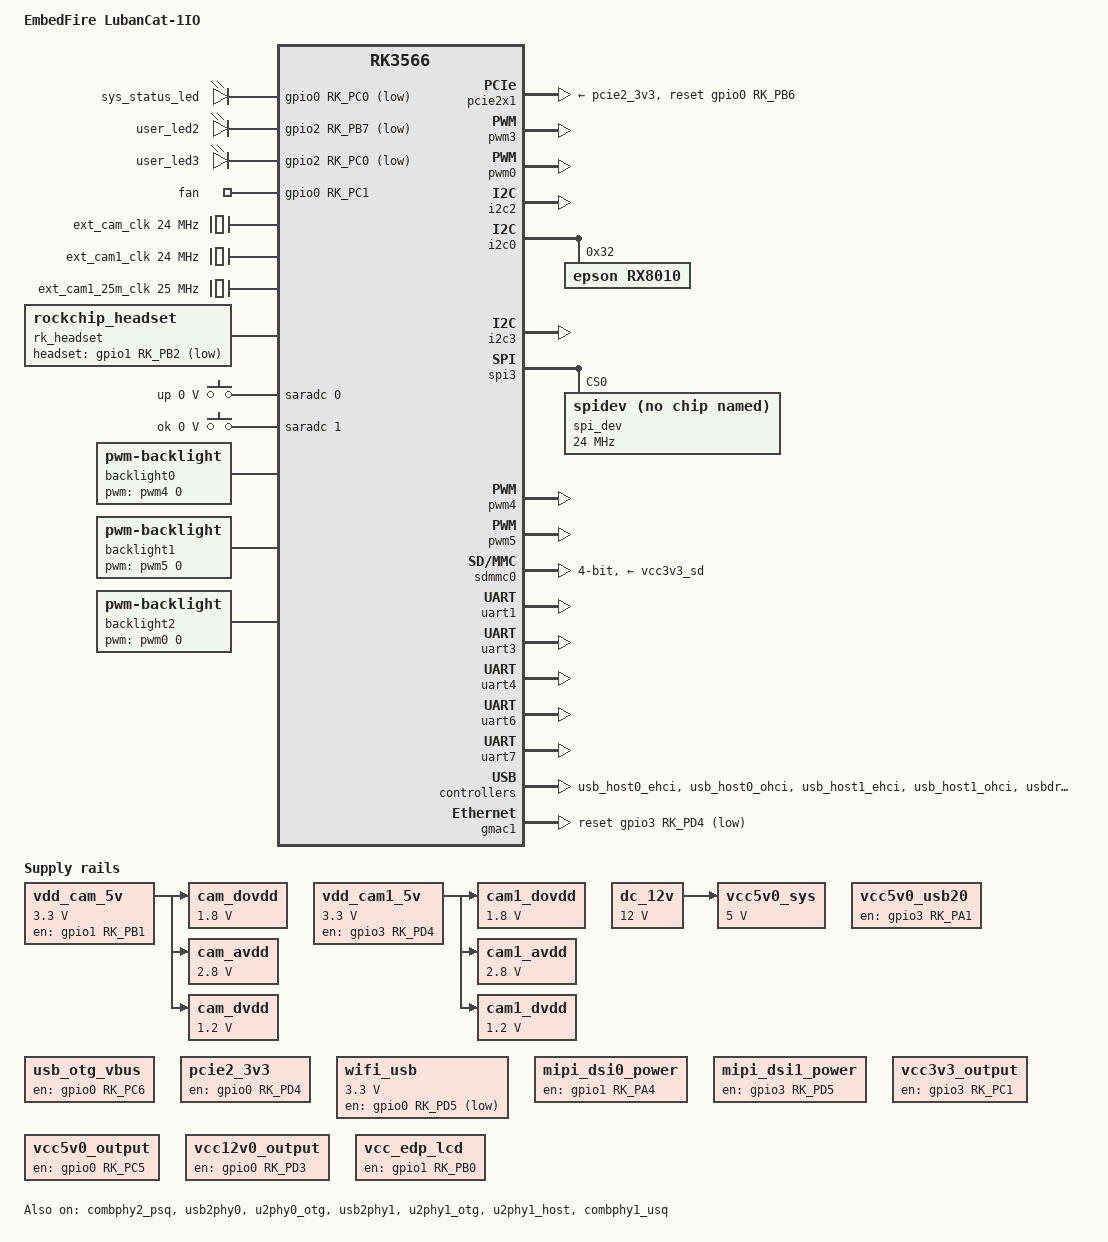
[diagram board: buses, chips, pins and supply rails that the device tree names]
// SPDX-License-Identifier: (GPL-2.0+ OR MIT)
 /dts-v1/;
//核心板配置
#include "rk3566-lubancat-1core-port.dtsi"

// MIPI-DSI1屏幕
#include "rk3566-lubancat-1io-dsi1.dtsi"
//HDMI输出（与lvds二选一）
#include "rk3566-lubancat-hdmi.dtsi"
// lvds屏幕（与HDMI二选一）
// #include "rk3566-lubancat-1io-lvds.dtsi"

//MIPI摄像头配置
#include "rk3568-lubancat-csi2-double.dtsi"

/ {
	model = "EmbedFire LubanCat-1IO";
	compatible = "embedfire,lubancat-1io", "rockchip,rk3566";

	leds: leds {
		status = "okay";
		compatible = "gpio-leds";

		sys_status_led: sys_status_led {
			label = "sys_status_led";
			status = "okay";
			linux,default-trigger = "heartbeat";
			default-state = "on";
			gpios = <&gpio0 RK_PC0 GPIO_ACTIVE_LOW>;
			pinctrl-names = "default";
			pinctrl-0 = <&sys_status_led_pin>;
		};

		user_led2: user_led2 {
			label = "user_led2";
			status = "okay";
			linux,default-trigger = "heartbeat";
			default-state = "on";
			gpios = <&gpio2 RK_PB7 GPIO_ACTIVE_LOW>;
			pinctrl-names = "default";
			pinctrl-0 = <&user_led2_pin>;
		};

		user_led3: user_led3 {
			label = "user_led3";
			status = "okay";
			linux,default-trigger = "heartbeat";
			default-state = "on";
			gpios = <&gpio2 RK_PC0 GPIO_ACTIVE_LOW>;
			pinctrl-names = "default";
			pinctrl-0 = <&user_led3_pin>;
		};

		fan: fan {
			label = "fan";
			default-state = "on";
			linux,default-trigger = "none";
			gpios = <&gpio0 RK_PC1 GPIO_ACTIVE_HIGH>;
			pinctrl-names = "default";
			pinctrl-0 = <&fan_pin>;
		};
	};

	ext_cam_clk: external-camera0-clock {
		compatible = "fixed-clock";
		#clock-cells = <0>;
		clock-frequency = <24000000>;
		clock-output-names = "CLK_CAMERA0_24MHZ";
	};

	vdd_cam_5v: vdd-cam0-5v-regulator {
		compatible = "regulator-fixed";
		regulator-name = "vdd_cam_5v";
		regulator-min-microvolt = <3300000>;
		regulator-max-microvolt = <3300000>;
		gpio = <&gpio1 RK_PB1 GPIO_ACTIVE_HIGH>;
		pinctrl-names = "default";
		pinctrl-0 = <&cam_pwr_en>;
		enable-active-high;
		regulator-always-on;
	};

	cam_dovdd: cam_dovdd {
		compatible = "regulator-fixed";
		regulator-name = "cam_dovdd";
		regulator-always-on;
		regulator-boot-on;
		regulator-min-microvolt = <1800000>;
		regulator-max-microvolt = <1800000>;
		vin-supply = <&vdd_cam_5v>;
	};

	cam_avdd: cam_avdd {
		compatible = "regulator-fixed";
		regulator-name = "cam_avdd";
		regulator-always-on;
		regulator-boot-on;
		regulator-min-microvolt = <2800000>;
		regulator-max-microvolt = <2800000>;
		vin-supply = <&vdd_cam_5v>;
	};

	cam_dvdd: cam_dvdd {
		compatible = "regulator-fixed";
		regulator-name = "cam_dvdd";
		regulator-always-on;
		regulator-boot-on;
		regulator-min-microvolt = <1200000>;
		regulator-max-microvolt = <1200000>;
		vin-supply = <&vdd_cam_5v>;
	};

	ext_cam1_clk: external-camera1-clock {
		compatible = "fixed-clock";
		#clock-cells = <0>;
		clock-frequency = <24000000>;
		clock-output-names = "CLK_CAMERA1_24MHZ";
	};

	ext_cam1_25m_clk: external-camera1-25m-clock {
		compatible = "fixed-clock";
		clock-frequency = <25000000>;
		clock-output-names = "ext_cam1_25m_clk";
		#clock-cells = <0>;
	};

	vdd_cam1_5v: vdd-cam1-5v-regulator {
		compatible = "regulator-fixed";
		regulator-name = "vdd_cam1_5v";
		regulator-min-microvolt = <3300000>;
		regulator-max-microvolt = <3300000>;
		gpio = <&gpio3 RK_PD4 GPIO_ACTIVE_HIGH>;
		pinctrl-names = "default";
		pinctrl-0 = <&cam1_pwr_en>;
		enable-active-high;
		regulator-always-on;
	};

	cam1_dovdd: cam1-dovdd {
		compatible = "regulator-fixed";
		regulator-name = "cam1_dovdd";
		regulator-always-on;
		regulator-boot-on;
		regulator-min-microvolt = <1800000>;
		regulator-max-microvolt = <1800000>;
		vin-supply = <&vdd_cam1_5v>;
	};

	cam1_avdd: cam1-avdd {
		compatible = "regulator-fixed";
		regulator-name = "cam1_avdd";
		regulator-always-on;
		regulator-boot-on;
		regulator-min-microvolt = <2800000>;
		regulator-max-microvolt = <2800000>;
		vin-supply = <&vdd_cam1_5v>;
	};

	cam1_dvdd: cam1-dvdd {
		compatible = "regulator-fixed";
		regulator-name = "cam1_dvdd";
		regulator-always-on;
		regulator-boot-on;
		regulator-min-microvolt = <1200000>;
		regulator-max-microvolt = <1200000>;
		vin-supply = <&vdd_cam1_5v>;
	};

	dc_12v: dc-12v {
		compatible = "regulator-fixed";
		regulator-name = "dc_12v";
		regulator-always-on;
		regulator-boot-on;
		regulator-min-microvolt = <12000000>;
		regulator-max-microvolt = <12000000>;
	};

	vcc5v0_sys: vcc5v0-sys {
		compatible = "regulator-fixed";
		regulator-name = "vcc5v0_sys";
		regulator-always-on;
		regulator-boot-on;
		regulator-min-microvolt = <5000000>;
		regulator-max-microvolt = <5000000>;
		vin-supply = <&dc_12v>;
	};

	// LubanCat1io
	vcc5v0_usb20: vcc5v0-usb20-regulator {
		compatible = "regulator-fixed";
		enable-active-high;
		gpio = <&gpio3 RK_PA1 GPIO_ACTIVE_HIGH>;
		pinctrl-names = "default";
		pinctrl-0 = <&vcc5v0_usb20_en>;
		regulator-name = "vcc5v0_usb20_host";
		regulator-always-on;
	};

	usb_otg_vbus: usb-otg-vbus-regulator {
		compatible = "regulator-fixed";
		enable-active-high;
		gpio = <&gpio0 RK_PC6 GPIO_ACTIVE_HIGH>;
		pinctrl-names = "default";
		pinctrl-0 = <&usb_otg_vbus_en>;
		regulator-name = "vcc5v0_otg";
	};

	pcie2_3v3: pcie2-3v3-regulator {
		compatible = "regulator-fixed";
		enable-active-high;
		gpio = <&gpio0 RK_PD4 GPIO_ACTIVE_HIGH>;
		pinctrl-names = "default";
		pinctrl-0 = <&pcie2_3v3_en>;
		regulator-name = "pcie2_3v3";
		regulator-always-on;
	};

	wifi_usb: wifi-usb {
		compatible = "regulator-fixed";
		regulator-name = "wifi_usb";
		regulator-min-microvolt = <3300000>;
		regulator-max-microvolt = <3300000>;
		pinctrl-names = "default";
		pinctrl-0 = <&wifi_poweren_gpio>;
		regulator-always-on;
		enable-active-low;
		gpio = <&gpio0 RK_PD5 GPIO_ACTIVE_LOW>;
	};

	mipi_dsi0_power: mipi-dsi0-power-regulator {
		compatible = "regulator-fixed";
		enable-active-high;
		gpio = <&gpio1 RK_PA4 GPIO_ACTIVE_HIGH>;
		pinctrl-names = "default";
		pinctrl-0 = <&mipi_dsi0_pwr_en>;
		regulator-name = "mipi_dsi0_power";
		regulator-always-on;
	};

	mipi_dsi1_power: mipi-dsi1-power-regulator {
		compatible = "regulator-fixed";
		enable-active-high;
		gpio = <&gpio3 RK_PD5 GPIO_ACTIVE_HIGH>;
		pinctrl-names = "default";
		pinctrl-0 = <&mipi_dsi1_pwr_en>;
		regulator-name = "mipi_dsi1_power";
		regulator-always-on;
	};

	vcc3v3_output: vcc3v3-output-regulator {
		compatible = "regulator-fixed";
		enable-active-high;
		gpio = <&gpio3 RK_PC1 GPIO_ACTIVE_HIGH>;
		pinctrl-names = "default";
		pinctrl-0 = <&vcc3v3_output_en>;
		regulator-name = "vcc3v3_output";
		regulator-always-on;
	};

	vcc5v0_output: vcc5v0-output-regulator {
		compatible = "regulator-fixed";
		enable-active-high;
		gpio = <&gpio0 RK_PC5 GPIO_ACTIVE_HIGH>;
		pinctrl-names = "default";
		pinctrl-0 = <&vcc5v0_output_en>;
		regulator-name = "vcc5v0_output";
		regulator-always-on;
	};

	vcc12v0_output: vcc12v0-output-regulator {
		compatible = "regulator-fixed";
		enable-active-high;
		gpio = <&gpio0 RK_PD3 GPIO_ACTIVE_HIGH>;
		pinctrl-names = "default";
		pinctrl-0 = <&vcc12v0_output_en>;
		regulator-name = "vcc12v0_output";
		regulator-always-on;
	};

	vcc_edp_lcd: vcc-edp-lcd-regulator {
		compatible = "regulator-fixed";
		enable-active-high;
		gpio = <&gpio1 RK_PB0 GPIO_ACTIVE_HIGH>;
		pinctrl-names = "default";
		pinctrl-0 = <&edp_pwr_en>;
		regulator-name = "vdd_edp_lcd";
		regulator-always-on;
	};

	rk_headset: rk-headset {
		status = "okay";
		compatible = "rockchip_headset";
		headset_gpio = <&gpio1 RK_PB2 GPIO_ACTIVE_LOW>;
		pinctrl-names = "default";
		pinctrl-0 = <&hp_det>;
	};

	adc_key_1: adc-key-1 {
		compatible = "adc-keys";
		io-channels = <&saradc 0>;
		io-channel-names = "buttons";
		keyup-threshold-microvolt = <1800000>;
		poll-interval = <100>;

		up-key {
			label = "up";
			linux,code = <KEY_UP>;
			press-threshold-microvolt = <9>;
		};
	};

	adc_key_2: adc-key-2 {
		status = "okay";
		compatible = "adc-keys";
		io-channels = <&saradc 1>;
		io-channel-names = "buttons";
		keyup-threshold-microvolt = <1800000>;
		poll-interval = <100>;

		ok-key {
			label = "ok";
			linux,code = <KEY_OK>;
			press-threshold-microvolt = <9>;
		};
	};

	backlight0: backlight0 {
		status = "okay";
		compatible = "pwm-backlight";
		pwms = <&pwm4 0 50000 0>;
		brightness-levels = <
			 95  95  95  95  95  95  95  95
			 95  95  95  95  95  95  95  95
			 95  95  95  95  95  95  95  95
			 95  95  95  95  95  95  95  95
			 95  95  95  95  95  95  95  95
			 95  95  95  95  95  95  95  95
			 95  95  95  95  95  95  95  95
			 95  95  95  95  95  95  95  95
			 95  95  95  95  95  95  95  95
			 95  95  95  95  95  95  95  95
			 95  95  95  95  95  95  95  95
			 88  89  90  91  92  93  94  95
			 96  97  98  99 100 101 102 103
			104 105 106 107 108 109 110 111
			112 113 114 115 116 117 118 119
			120 121 122 123 124 125 126 127
			128 129 130 131 132 133 134 135
			136 137 138 139 140 141 142 143
			144 145 146 147 148 149 150 151
			152 153 154 155 156 157 158 159
			160 161 162 163 164 165 166 167
			168 169 170 171 172 173 174 175
			176 177 178 179 180 181 182 183
			184 185 186 187 188 189 190 191
			192 193 194 195 196 197 198 199
			200 201 202 203 204 205 206 207
			208 209 210 211 212 213 214 215
			216 217 218 219 220 221 222 223
			224 225 226 227 228 229 230 231
			232 233 234 235 236 237 238 239
			240 241 242 243 244 245 246 247
			248 249 250 251 252 253 254 255
		>;
		default-brightness-level = <200>;
	};

	backlight1: backlight1 {
		status = "okay";
		compatible = "pwm-backlight";
		pwms = <&pwm5 0 50000 0>;
		brightness-levels = <
			95  95  95  95  95  95  95  95
			95  95  95  95  95  95  95  95
			95  95  95  95  95  95  95  95
			95  95  95  95  95  95  95  95
			95  95  95  95  95  95  95  95
			95  95  95  95  95  95  95  95
			95  95  95  95  95  95  95  95
			95  95  95  95  95  95  95  95
			95  95  95  95  95  95  95  95
			95  95  95  95  95  95  95  95
			95  95  95  95  95  95  95  95
			88  89  90  91  92  93  94  95
			96  97  98  99  100 101 102 103
			104 105 106 107 108 109 110 111
			112 113 114 115 116 117 118 119
			120 121 122 123 124 125 126 127
			128 129 130 131 132 133 134 135
			136 137 138 139 140 141 142 143
			144 145 146 147 148 149 150 151
			152 153 154 155 156 157 158 159
			160 161 162 163 164 165 166 167
			168 169 170 171 172 173 174 175
			176 177 178 179 180 181 182 183
			184 185 186 187 188 189 190 191
			192 193 194 195 196 197 198 199
			200 201 202 203 204 205 206 207
			208 209 210 211 212 213 214 215
			216 217 218 219 220 221 222 223
			224 225 226 227 228 229 230 231
			232 233 234 235 236 237 238 239
			240 241 242 243 244 245 246 247
			248 249 250 251 252 253 254 255
		>;
		default-brightness-level = <200>;
	};

	backlight2: backlight2 {
		status = "okay";
		compatible = "pwm-backlight";
		pwms = <&pwm0 0 500000 0>; //2khz
		brightness-levels = <
			0   1   2   3   4   5   6   7
			8   9   10  11  12  13  14  15
			16  17  18  19  20  21  22  23
			24  25  26  27  28  29  30  31
			32  33  34  35  36  37  38  39
			40  41  42  43  44  45  46  47
			48  49  50  51  52  53  54  55
			56  57  58  59  60  61  62  63
			64  65  66  67  68  69  70  71
			72  73  74  75  76  77  78  79
			80  81  82  83  84  85  86  87
			88  89  90  91  92  93  94  95
			96  97  98  99  100 101 102 103
			104 105 106 107 108 109 110 111
			112 113 114 115 116 117 118 119
			120 121 122 123 124 125 126 127
			128 129 130 131 132 133 134 135
			136 137 138 139 140 141 142 143
			144 145 146 147 148 149 150 151
			152 153 154 155 156 157 158 159
			160 161 162 163 164 165 166 167
			168 169 170 171 172 173 174 175
			176 177 178 179 180 181 182 183
			184 185 186 187 188 189 190 191
			192 193 194 195 196 197 198 199
			200 201 202 203 204 205 206 207
			208 209 210 211 212 213 214 215
			216 217 218 219 220 221 222 223
			224 225 226 227 228 229 230 231
			232 233 234 235 236 237 238 239
			240 241 242 243 244 245 246 247
			248 249 250 251 252 253 254 255>;
		default-brightness-level = <200>;
	};
};

//cam0-gpio-setting
&ov5647 {
	pwdn-gpios = <&gpio3 RK_PA2 GPIO_ACTIVE_LOW>;
};

&ov5648 {
	pwdn-gpios = <&gpio3 RK_PA2 GPIO_ACTIVE_HIGH>;
	reset-gpios = <&gpio2 RK_PA7 GPIO_ACTIVE_LOW>;
};

&ov8858 {
	pwdn-gpios = <&gpio3 RK_PA2 GPIO_ACTIVE_HIGH>;
	reset-gpios = <&gpio2 RK_PA7 GPIO_ACTIVE_HIGH>;
};

&sc132gs {
	pwdn-gpios = <&gpio3 RK_PA2 GPIO_ACTIVE_HIGH>;
	reset-gpios = <&gpio2 RK_PA7 GPIO_ACTIVE_HIGH>;
};

//cam1-gpio-setting
&cam1_ov5647 {
	pwdn-gpios = <&gpio3 RK_PA7 GPIO_ACTIVE_LOW>;
};

&cam1_ov5648 {
	pwdn-gpios = <&gpio3 RK_PA7 GPIO_ACTIVE_HIGH>;
	reset-gpios = <&gpio2 RK_PB0 GPIO_ACTIVE_LOW>;
};

&cam1_ov8858 {
	pwdn-gpios = <&gpio3 RK_PA7 GPIO_ACTIVE_HIGH>;
	reset-gpios = <&gpio2 RK_PB0 GPIO_ACTIVE_HIGH>;
};

&cam1_sc132gs {
	pwdn-gpios = <&gpio3 RK_PA7 GPIO_ACTIVE_HIGH>;
	reset-gpios = <&gpio2 RK_PB0 GPIO_ACTIVE_HIGH>;
};

// pcie
&pcie2x1 {
	reset-gpios = <&gpio0 RK_PB6 GPIO_ACTIVE_HIGH>;
	disable-gpios = <&gpio3 RK_PB5 GPIO_ACTIVE_HIGH>;
	vpcie3v3-supply = <&pcie2_3v3>;
	status = "okay";
};

&combphy2_psq {
	status = "okay";
};

// 红外
&pwm3 {
	status = "okay";

	compatible = "rockchip,remotectl-pwm";
	remote_pwm_id = <3>;
	handle_cpu_id = <1>;
	remote_support_psci = <0>;
	pinctrl-names = "default";
	pinctrl-0 = <&pwm3_pins>;

	ir_key_lubancat{
		rockchip,usercode = <0xff00>;
		rockchip,key_table =
			<0xeb   KEY_POWER>,
			<0xec   KEY_MENU>,
			<0xfe   KEY_BACK>,
			<0xb7   KEY_HOME>,
			<0xa3   KEY_WWW>,
			<0xf4   KEY_VOLUMEUP>,
			<0xa7   KEY_VOLUMEDOWN>,
			<0xf8   KEY_REPLY>,
			<0xfc   KEY_UP>,
			<0xfd   KEY_DOWN>,
			<0xf1   KEY_LEFT>,
			<0xe5   KEY_RIGHT>;
	};
};

&pwm0 {
	status = "okay";
};

&i2c2 {
	status = "okay";
	pinctrl-names = "default";
	pinctrl-0 = <&i2c2m1_xfer>;
};


&i2c0 {
	rx8010: rx8010@32 {
		compatible = "epson,rx8010";
		reg = <0x32>;
		status = "okay";
	};
};

&rk809 {
	rtc {
		status = "disabled"; //use rx8010
	};
};

&xin32k {
	status = "disabled"; //use for RX8010_nIRQ1
};

&i2c3 {
	status = "okay";
};

&spi3 {
	status = "okay";
	#address-cells = <1>;
	#size-cells = <0>;

	// 40PIN引脚只预留SPI3 CS0引脚，如果有多个CS信号，可以使用gpio模拟cs
	pinctrl-names = "default", "high_speed";
	pinctrl-0 = <&spi3m1_cs0 &spi3m1_pins>;
	pinctrl-1 = <&spi3m1_cs0 &spi3m1_pins_hs>;

	spi_dev@0 {
		compatible = "rockchip,spidev";
		reg = <0>; //chip select 0:cs0  1:cs1
		spi-max-frequency = <24000000>; //spi output clock
	};
};

&pwm4 {
	status = "okay";
};

&pwm5 {
	status = "okay";
};

&sdmmc0 {
	max-frequency = <150000000>;
	supports-sd;
	bus-width = <4>;
	cap-mmc-highspeed;
	cap-sd-highspeed;
	disable-wp;
	sd-uhs-sdr104;
	vmmc-supply = <&vcc3v3_sd>;
	status = "okay";
};

&uart1 {
	status = "okay";
};

&uart3 {
	status = "okay";
	pinctrl-names = "default";
	pinctrl-0 = <&uart3m1_xfer>;
};

&uart4 {
	status = "okay";
	pinctrl-names = "default";
	pinctrl-0 = <&uart4m1_xfer>;
};

&uart6 {
	status = "okay";
};

&uart7 {
	status = "okay";
};

&uart9 {
	status = "disabled";
	pinctrl-names = "default";
	pinctrl-0 = <&uart9m1_xfer>;
};

/* USB OTG/USB Host_1 USB 2.0 Comb */
&usb2phy0 {
	status = "okay";
};

// &u2phy0_host {
//     phy-supply = <&vcc5v0_usb30>;
//     status = "okay";
// };

&u2phy0_otg {
	status = "okay";
	vbus-supply = <&usb_otg_vbus>;
};

&usb_host0_ehci {
	status = "okay";
};

&usb_host0_ohci {
	status = "okay";
};

/* USB Host_2/USB Host_3 USB 2.0 Comb */
&usb2phy1 {
	status = "okay";
};

&u2phy1_otg {
	phy-supply = <&vcc5v0_usb20>;
	status = "okay";
};

&u2phy1_host {
	status = "okay";
};

&usb_host1_ehci {
	status = "okay";
};

&usb_host1_ohci {
	status = "okay";
};

/* USB3.0 OTG Only USB2.0 */
&usbdrd30 {
	status = "okay";
};

&usbdrd_dwc3 {
	status = "okay";
};

/* USB3.0 Host  */
&combphy1_usq {
	status = "okay";
};

&usbhost30 {
	status = "okay";
};

&usbhost_dwc3 {
	status = "okay";
};

&gmac1 {
	snps,reset-gpio = <&gpio3 RK_PD4 GPIO_ACTIVE_LOW>;
	tx_delay = <0x16>;
	rx_delay = <0x06>;
	status = "okay";
};

&pinctrl {
	cam {
		cam_pwr_en: cam_pwr_en {
			rockchip,pins = <1 RK_PB1 RK_FUNC_GPIO &pcfg_pull_none>;
		};

		cam1_pwr_en: cam1_pwr_en {
			rockchip,pins = <3 RK_PD4 RK_FUNC_GPIO &pcfg_pull_none>;
		};
	};

	lcd {
		edp_pwr_en: edp-pwr-en {
			rockchip,pins = <1 RK_PB0 RK_FUNC_GPIO &pcfg_pull_none>;
		};

		mipi_dsi0_pwr_en: mipi-dsi0-pwr-en {
			rockchip,pins = <1 RK_PA4 RK_FUNC_GPIO &pcfg_pull_none>;
		};

		mipi_dsi1_pwr_en: mipi-dsi1-pwr-en {
			rockchip,pins = <3 RK_PD5 RK_FUNC_GPIO &pcfg_pull_none>;
		};
	};

	leds {
		sys_status_led_pin: sys-status-led-pin {
			rockchip,pins = <0 RK_PC0 RK_FUNC_GPIO &pcfg_pull_none>;
		};

		user_led2_pin:user_led2_pin{
			rockchip,pins = <2 RK_PB7 RK_FUNC_GPIO &pcfg_pull_none>;
		};

		user_led3_pin:user_led3_pin{
			rockchip,pins = <2 RK_PC0 RK_FUNC_GPIO &pcfg_pull_none>;
		};

		fan_pin: fan-pin {
			rockchip,pins = <0 RK_PC1 RK_FUNC_GPIO &pcfg_pull_none>;
		};

	};

	power{
		vcc3v3_output_en: vcc3v3-output-en {
			rockchip,pins = <3 RK_PC1 RK_FUNC_GPIO &pcfg_pull_none>;
		};

		vcc5v0_output_en: vcc5v0-output-en {
			rockchip,pins = <0 RK_PC5 RK_FUNC_GPIO &pcfg_pull_none>;
		};

		vcc12v0_output_en: vcc12v0-output-en {
			rockchip,pins = <0 RK_PD3 RK_FUNC_GPIO &pcfg_pull_none>;
		};
	};

	usb {
		vcc5v0_usb20_en: vcc5v0-usb20-en {
			rockchip,pins = <3 RK_PA1 RK_FUNC_GPIO &pcfg_pull_none>;
		};

		pcie2_3v3_en: pcie2-3v3-en {
			rockchip,pins = <0 RK_PD4 RK_FUNC_GPIO &pcfg_pull_none>;
		};

		wifi_poweren_gpio: wifi-poweren-gpio {
			rockchip,pins = <0 RK_PD5 RK_FUNC_GPIO &pcfg_pull_none>;
		};

		usb_otg_vbus_en: usb-otg-vbus-en {
			rockchip,pins = <0 RK_PC6 RK_FUNC_GPIO &pcfg_pull_none>;
		};
	};

	headphone {
		hp_det: hp-det {
			rockchip,pins = <1 RK_PB2 RK_FUNC_GPIO &pcfg_pull_none>;
		};
	};

	rx8010 {
		rx8010_irq: rx8010-irq {
			rockchip,pins = <3 RK_PA5 RK_FUNC_GPIO &pcfg_pull_none>;
		};
	};
};
